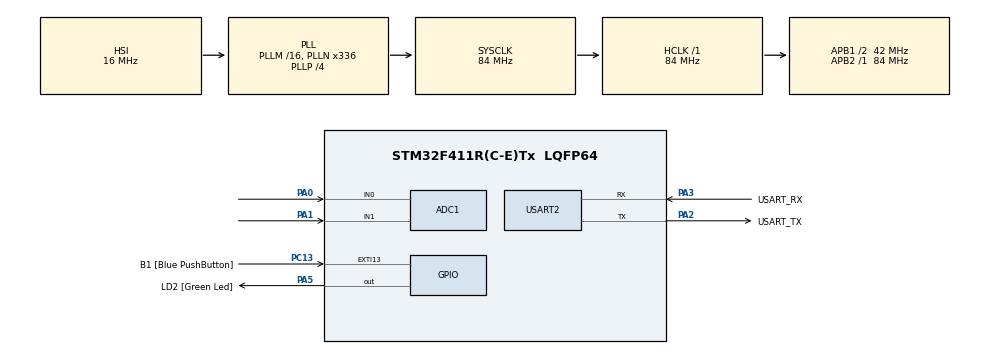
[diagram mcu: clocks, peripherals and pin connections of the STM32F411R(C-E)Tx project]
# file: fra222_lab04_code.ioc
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ADC1.Channel-0\#ChannelRegularConversion=ADC_CHANNEL_0
ADC1.Channel-1\#ChannelInjectedConversion=ADC_CHANNEL_0
ADC1.Channel-2\#ChannelInjectedConversion=ADC_CHANNEL_1
ADC1.ContinuousConvMode=ENABLE
ADC1.DMAContinuousRequests=ENABLE
ADC1.InjNumberOfConversion=2
ADC1.InjectedOffset-1\#ChannelInjectedConversion=0
ADC1.InjectedOffset-2\#ChannelInjectedConversion=0
ADC1.InjectedRank-1\#ChannelInjectedConversion=1
ADC1.InjectedRank-2\#ChannelInjectedConversion=2
ADC1.NbrOfConversionFlag=1
ADC1.Rank-0\#ChannelRegularConversion=1
ADC1.SamplingTime-0\#ChannelRegularConversion=ADC_SAMPLETIME_3CYCLES
ADC1.SamplingTime-1\#ChannelInjectedConversion=ADC_SAMPLETIME_84CYCLES
ADC1.SamplingTime-2\#ChannelInjectedConversion=ADC_SAMPLETIME_84CYCLES
ADC1.ScanConvMode=ENABLE
ADC1.master=1
Dma.ADC1.0.Direction=DMA_PERIPH_TO_MEMORY
Dma.ADC1.0.FIFOMode=DMA_FIFOMODE_DISABLE
Dma.ADC1.0.Instance=DMA2_Stream0
Dma.ADC1.0.MemDataAlignment=DMA_MDATAALIGN_WORD
Dma.ADC1.0.MemInc=DMA_MINC_ENABLE
Dma.ADC1.0.Mode=DMA_CIRCULAR
Dma.ADC1.0.PeriphDataAlignment=DMA_PDATAALIGN_WORD
Dma.ADC1.0.PeriphInc=DMA_PINC_DISABLE
Dma.ADC1.0.Priority=DMA_PRIORITY_LOW
Dma.Request0=ADC1
Mcu.Family=STM32F4
Mcu.Name=STM32F411R(C-E)Tx
Mcu.Package=LQFP64
NVIC.ADC_IRQn=true\:0\:0\:false\:false\:true\:true\:true
NVIC.DMA2_Stream0_IRQn=true\:0\:0\:false\:false\:true\:false\:true
NVIC.EXTI15_10_IRQn=true\:0\:0\:false\:false\:true\:true\:true
NVIC.PriorityGroup=NVIC_PRIORITYGROUP_0
PA0-WKUP.Signal=ADCx_IN0
PA1.Signal=ADCx_IN1
PA13.GPIO_Label=TMS
PA13.Mode=Serial_Wire
PA13.Signal=SYS_JTMS-SWDIO
PA14.GPIO_Label=TCK
PA14.Mode=Serial_Wire
PA14.Signal=SYS_JTCK-SWCLK
PA2.GPIO_Label=USART_TX
PA2.Mode=Asynchronous
PA2.Signal=USART2_TX
PA3.GPIO_Label=USART_RX
PA3.Mode=Asynchronous
PA3.Signal=USART2_RX
PA5.GPIO_Label=LD2 [Green Led]
PA5.Signal=GPIO_Output
PB3.GPIO_Label=SWO
PB3.Signal=SYS_JTDO-SWO
PC13-ANTI_TAMP.GPIO_Label=B1 [Blue PushButton]
PC13-ANTI_TAMP.GPIO_ModeDefaultEXTI=GPIO_MODE_IT_RISING_FALLING
PC13-ANTI_TAMP.GPIO_PuPd=GPIO_PULLUP
PC13-ANTI_TAMP.Signal=GPXTI13
PC14-OSC32_IN.Mode=LSE-External-Oscillator
PC14-OSC32_IN.Signal=RCC_OSC32_IN
PC15-OSC32_OUT.Mode=LSE-External-Oscillator
PC15-OSC32_OUT.Signal=RCC_OSC32_OUT
PH0\ -\ OSC_IN.Mode=HSE-External-Clock-Source
PH0\ -\ OSC_IN.Signal=RCC_OSC_IN
PH1\ -\ OSC_OUT.Mode=HSE-External-Clock-Source
PH1\ -\ OSC_OUT.Signal=RCC_OSC_OUT
ProjectManager.HeapSize=0x200
ProjectManager.StackSize=0x400
ProjectManager.TargetToolchain=STM32CubeIDE
RCC.48MHZClocksFreq_Value=84000000
RCC.AHBFreq_Value=84000000
RCC.APB1CLKDivider=RCC_HCLK_DIV2
RCC.APB1Freq_Value=42000000
RCC.APB1TimFreq_Value=84000000
RCC.APB2Freq_Value=84000000
RCC.APB2TimFreq_Value=84000000
RCC.CortexFreq_Value=84000000
RCC.FLatency-AdvancedSettings=FLASH_LATENCY_2
RCC.HCLKFreq_Value=84000000
RCC.HSE_VALUE=8000000
RCC.HSI_VALUE=16000000
RCC.PLLN=336
RCC.PLLP=RCC_PLLP_DIV4
RCC.SYSCLKFreq_VALUE=84000000
RCC.SYSCLKSource=RCC_SYSCLKSOURCE_PLLCLK
RCC.VCOOutputFreq_Value=336000000
SH.ADCx_IN0.0=ADC1_IN0,IN0
SH.ADCx_IN1.0=ADC1_IN1,IN1
USART2.VirtualMode=VM_ASYNC
board=NUCLEO-F411RE

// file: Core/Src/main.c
/* USER CODE BEGIN Header */
/**
  ******************************************************************************
  * @file           : main.c
  * @brief          : Main program body
  ******************************************************************************
  * @attention
  *
  * <h2><center>&copy; Copyright (c) 2021 STMicroelectronics.
  * All rights reserved.</center></h2>
  *
  * This software component is licensed by ST under BSD 3-Clause license,
  * the "License"; You may not use this file except in compliance with the
  * License. You may obtain a copy of the License at:
  *                        opensource.org/licenses/BSD-3-Clause
  *
  ******************************************************************************
  */
/* USER CODE END Header */
#include "main.h"

ADC_HandleTypeDef hadc1;
DMA_HandleTypeDef hdma_adc1;

UART_HandleTypeDef huart2;

/* USER CODE BEGIN PV */

uint32_t ADCData[2] = {0};

uint8_t SwitchState = 0;

uint32_t TimeStamp = 0;
uint32_t LEDOffPeriod = 0;
uint32_t ResponsePeriod = 0;

/* USER CODE END PV */

void SystemClock_Config(void);
static void MX_GPIO_Init(void);
static void MX_DMA_Init(void);
static void MX_USART2_UART_Init(void);
static void MX_ADC1_Init(void);

int main(void)
{

  /* MCU Configuration--------------------------------------------------------*/

  /* Reset of all peripherals, Initializes the Flash interface and the Systick. */
  HAL_Init();

  /* Configure the system clock */
  SystemClock_Config();

  /* Initialize all configured peripherals */
  MX_GPIO_Init();
  MX_DMA_Init();
  MX_USART2_UART_Init();
  MX_ADC1_Init();
  /* USER CODE BEGIN 2 */

  HAL_ADC_Start_DMA(&hadc1, ADCData, 2);

  HAL_GPIO_WritePin(LD2_GPIO_Port, LD2_Pin, GPIO_PIN_SET);  //turn LED ON

  /* USER CODE END 2 */

  /* Infinite loop */
  while (1)
  {

    /* USER CODE BEGIN 3 */

	  if (SwitchState)  //while pressing
	  {
		  if (HAL_GetTick()-TimeStamp > LEDOffPeriod)
		  {
			  HAL_GPIO_WritePin(LD2_GPIO_Port, LD2_Pin, GPIO_PIN_SET);  //turn LED ON
		  }
	  }
  }
  /* USER CODE END 3 */
}

void SystemClock_Config(void)
{
  RCC_OscInitTypeDef RCC_OscInitStruct = {0};
  RCC_ClkInitTypeDef RCC_ClkInitStruct = {0};

  /** Configure the main internal regulator output voltage
  */
  __HAL_RCC_PWR_CLK_ENABLE();
  __HAL_PWR_VOLTAGESCALING_CONFIG(PWR_REGULATOR_VOLTAGE_SCALE1);
  /** Initializes the RCC Oscillators according to the specified parameters
  * in the RCC_OscInitTypeDef structure.
  */
  RCC_OscInitStruct.OscillatorType = RCC_OSCILLATORTYPE_HSI;
  RCC_OscInitStruct.HSIState = RCC_HSI_ON;
  RCC_OscInitStruct.HSICalibrationValue = RCC_HSICALIBRATION_DEFAULT;
  RCC_OscInitStruct.PLL.PLLState = RCC_PLL_ON;
  RCC_OscInitStruct.PLL.PLLSource = RCC_PLLSOURCE_HSI;
  RCC_OscInitStruct.PLL.PLLM = 16;
  RCC_OscInitStruct.PLL.PLLN = 336;
  RCC_OscInitStruct.PLL.PLLP = RCC_PLLP_DIV4;
  RCC_OscInitStruct.PLL.PLLQ = 4;
  if (HAL_RCC_OscConfig(&RCC_OscInitStruct) != HAL_OK)
  {
    Error_Handler();
  }
  /** Initializes the CPU, AHB and APB buses clocks
  */
  RCC_ClkInitStruct.ClockType = RCC_CLOCKTYPE_HCLK|RCC_CLOCKTYPE_SYSCLK
                              |RCC_CLOCKTYPE_PCLK1|RCC_CLOCKTYPE_PCLK2;
  RCC_ClkInitStruct.SYSCLKSource = RCC_SYSCLKSOURCE_PLLCLK;
  RCC_ClkInitStruct.AHBCLKDivider = RCC_SYSCLK_DIV1;
  RCC_ClkInitStruct.APB1CLKDivider = RCC_HCLK_DIV2;
  RCC_ClkInitStruct.APB2CLKDivider = RCC_HCLK_DIV1;

  if (HAL_RCC_ClockConfig(&RCC_ClkInitStruct, FLASH_LATENCY_2) != HAL_OK)
  {
    Error_Handler();
  }
}

static void MX_ADC1_Init(void)
{

  ADC_ChannelConfTypeDef sConfig = {0};
  ADC_InjectionConfTypeDef sConfigInjected = {0};

  /** Configure the global features of the ADC (Clock, Resolution, Data Alignment and number of conversion)
  */
  hadc1.Instance = ADC1;
  hadc1.Init.ClockPrescaler = ADC_CLOCK_SYNC_PCLK_DIV4;
  hadc1.Init.Resolution = ADC_RESOLUTION_12B;
  hadc1.Init.ScanConvMode = ENABLE;
  hadc1.Init.ContinuousConvMode = ENABLE;
  hadc1.Init.DiscontinuousConvMode = DISABLE;
  hadc1.Init.ExternalTrigConvEdge = ADC_EXTERNALTRIGCONVEDGE_NONE;
  hadc1.Init.ExternalTrigConv = ADC_SOFTWARE_START;
  hadc1.Init.DataAlign = ADC_DATAALIGN_RIGHT;
  hadc1.Init.NbrOfConversion = 1;
  hadc1.Init.DMAContinuousRequests = ENABLE;
  hadc1.Init.EOCSelection = ADC_EOC_SINGLE_CONV;
  if (HAL_ADC_Init(&hadc1) != HAL_OK)
  {
    Error_Handler();
  }
  /** Configure for the selected ADC regular channel its corresponding rank in the sequencer and its sample time.
  */
  sConfig.Channel = ADC_CHANNEL_0;
  sConfig.Rank = 1;
  sConfig.SamplingTime = ADC_SAMPLETIME_3CYCLES;
  if (HAL_ADC_ConfigChannel(&hadc1, &sConfig) != HAL_OK)
  {
    Error_Handler();
  }
  /** Configures for the selected ADC injected channel its corresponding rank in the sequencer and its sample time
  */
  sConfigInjected.InjectedChannel = ADC_CHANNEL_0;
  sConfigInjected.InjectedRank = 1;
  sConfigInjected.InjectedNbrOfConversion = 2;
  sConfigInjected.InjectedSamplingTime = ADC_SAMPLETIME_84CYCLES;
  sConfigInjected.ExternalTrigInjecConvEdge = ADC_EXTERNALTRIGINJECCONVEDGE_NONE;
  sConfigInjected.ExternalTrigInjecConv = ADC_INJECTED_SOFTWARE_START;
  sConfigInjected.AutoInjectedConv = DISABLE;
  sConfigInjected.InjectedDiscontinuousConvMode = DISABLE;
  sConfigInjected.InjectedOffset = 0;
  if (HAL_ADCEx_InjectedConfigChannel(&hadc1, &sConfigInjected) != HAL_OK)
  {
    Error_Handler();
  }
  /** Configures for the selected ADC injected channel its corresponding rank in the sequencer and its sample time
  */
  sConfigInjected.InjectedChannel = ADC_CHANNEL_1;
  sConfigInjected.InjectedRank = 2;
  if (HAL_ADCEx_InjectedConfigChannel(&hadc1, &sConfigInjected) != HAL_OK)
  {
    Error_Handler();
  }

}

static void MX_USART2_UART_Init(void)
{

  huart2.Instance = USART2;
  huart2.Init.BaudRate = 115200;
  huart2.Init.WordLength = UART_WORDLENGTH_8B;
  huart2.Init.StopBits = UART_STOPBITS_1;
  huart2.Init.Parity = UART_PARITY_NONE;
  huart2.Init.Mode = UART_MODE_TX_RX;
  huart2.Init.HwFlowCtl = UART_HWCONTROL_NONE;
  huart2.Init.OverSampling = UART_OVERSAMPLING_16;
  if (HAL_UART_Init(&huart2) != HAL_OK)
  {
    Error_Handler();
  }

}

static void MX_DMA_Init(void)
{

  /* DMA controller clock enable */
  __HAL_RCC_DMA2_CLK_ENABLE();

  /* DMA interrupt init */
  /* DMA2_Stream0_IRQn interrupt configuration */
  HAL_NVIC_SetPriority(DMA2_Stream0_IRQn, 0, 0);
  HAL_NVIC_EnableIRQ(DMA2_Stream0_IRQn);

}

static void MX_GPIO_Init(void)
{
  GPIO_InitTypeDef GPIO_InitStruct = {0};

  /* GPIO Ports Clock Enable */
  __HAL_RCC_GPIOC_CLK_ENABLE();
  __HAL_RCC_GPIOH_CLK_ENABLE();
  __HAL_RCC_GPIOA_CLK_ENABLE();
  __HAL_RCC_GPIOB_CLK_ENABLE();

  /*Configure GPIO pin Output Level */
  HAL_GPIO_WritePin(LD2_GPIO_Port, LD2_Pin, GPIO_PIN_RESET);

  /*Configure GPIO pin : B1_Pin */
  GPIO_InitStruct.Pin = B1_Pin;
  GPIO_InitStruct.Mode = GPIO_MODE_IT_RISING_FALLING;
  GPIO_InitStruct.Pull = GPIO_PULLUP;
  HAL_GPIO_Init(B1_GPIO_Port, &GPIO_InitStruct);

  /*Configure GPIO pin : LD2_Pin */
  GPIO_InitStruct.Pin = LD2_Pin;
  GPIO_InitStruct.Mode = GPIO_MODE_OUTPUT_PP;
  GPIO_InitStruct.Pull = GPIO_NOPULL;
  GPIO_InitStruct.Speed = GPIO_SPEED_FREQ_LOW;
  HAL_GPIO_Init(LD2_GPIO_Port, &GPIO_InitStruct);

  /* EXTI interrupt init*/
  HAL_NVIC_SetPriority(EXTI15_10_IRQn, 0, 0);
  HAL_NVIC_EnableIRQ(EXTI15_10_IRQn);

}

/* USER CODE BEGIN 4 */

void HAL_GPIO_EXTI_Callback(uint16_t GPIO_Pin)
{
	if (GPIO_Pin == GPIO_PIN_13)  //check is it USER BUTTON?
	{
		switch (SwitchState)
		{
			case 0:  //at the moment press

				HAL_GPIO_WritePin(LD2_GPIO_Port, LD2_Pin, GPIO_PIN_RESET);  //turn LED OFF

				TimeStamp = HAL_GetTick();
				LEDOffPeriod = 1000 + ((22695477 * ADCData[0])+ ADCData[1])% 10000;

				SwitchState = 1;
				break;

			case 1:  //at the moment unpress

				if (HAL_GetTick() - TimeStamp > LEDOffPeriod)
				{
					ResponsePeriod = (HAL_GetTick() - TimeStamp) - LEDOffPeriod;
				}
				else {
					ResponsePeriod = 99999999;
				}

				SwitchState = 0;
				break;
		}
	}
}

/* USER CODE END 4 */

void Error_Handler(void)
{
  __disable_irq();
  while (1)
  {
  }
}

/************************ (C) COPYRIGHT STMicroelectronics *****END OF FILE****/
